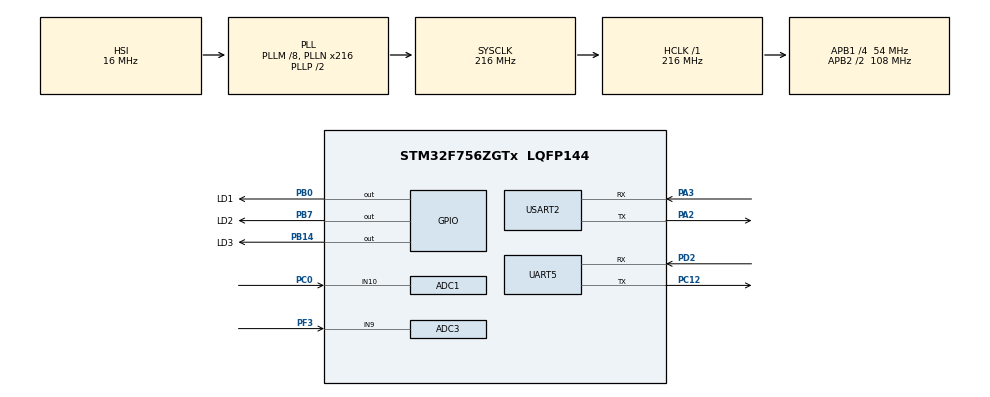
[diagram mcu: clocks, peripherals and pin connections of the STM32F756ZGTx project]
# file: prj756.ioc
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ADC1.Channel-0\#ChannelRegularConversion=ADC_CHANNEL_10
ADC1.ContinuousConvMode=ENABLE
ADC1.DMAContinuousRequests=ENABLE
ADC1.NbrOfConversionFlag=1
ADC1.Rank-0\#ChannelRegularConversion=1
ADC1.SamplingTime-0\#ChannelRegularConversion=ADC_SAMPLETIME_56CYCLES
ADC1.master=1
ADC3.Channel-0\#ChannelRegularConversion=ADC_CHANNEL_9
ADC3.ContinuousConvMode=ENABLE
ADC3.DMAContinuousRequests=ENABLE
ADC3.NbrOfConversionFlag=1
ADC3.Rank-0\#ChannelRegularConversion=1
ADC3.SamplingTime-0\#ChannelRegularConversion=ADC_SAMPLETIME_56CYCLES
Dma.ADC1.1.Direction=DMA_PERIPH_TO_MEMORY
Dma.ADC1.1.FIFOMode=DMA_FIFOMODE_DISABLE
Dma.ADC1.1.Instance=DMA2_Stream4
Dma.ADC1.1.MemDataAlignment=DMA_MDATAALIGN_HALFWORD
Dma.ADC1.1.MemInc=DMA_MINC_ENABLE
Dma.ADC1.1.Mode=DMA_CIRCULAR
Dma.ADC1.1.PeriphDataAlignment=DMA_PDATAALIGN_HALFWORD
Dma.ADC1.1.PeriphInc=DMA_PINC_DISABLE
Dma.ADC1.1.Priority=DMA_PRIORITY_LOW
Dma.ADC3.0.Direction=DMA_PERIPH_TO_MEMORY
Dma.ADC3.0.FIFOMode=DMA_FIFOMODE_DISABLE
Dma.ADC3.0.Instance=DMA2_Stream0
Dma.ADC3.0.MemDataAlignment=DMA_MDATAALIGN_HALFWORD
Dma.ADC3.0.MemInc=DMA_MINC_ENABLE
Dma.ADC3.0.Mode=DMA_CIRCULAR
Dma.ADC3.0.PeriphDataAlignment=DMA_PDATAALIGN_HALFWORD
Dma.ADC3.0.PeriphInc=DMA_PINC_DISABLE
Dma.ADC3.0.Priority=DMA_PRIORITY_LOW
Dma.Request0=ADC3
Dma.Request1=ADC1
Mcu.Family=STM32F7
Mcu.Name=STM32F756ZGTx
Mcu.Package=LQFP144
NVIC.DMA2_Stream0_IRQn=true\:0\:0\:false\:false\:true\:false\:true\:true
NVIC.DMA2_Stream4_IRQn=true\:0\:0\:false\:false\:true\:false\:true\:true
NVIC.PriorityGroup=NVIC_PRIORITYGROUP_4
NVIC.TIM5_IRQn=true\:0\:0\:false\:false\:true\:true\:true\:true
NVIC.UART5_IRQn=true\:0\:0\:false\:false\:true\:true\:true\:true
NVIC.USART2_IRQn=true\:0\:0\:false\:false\:true\:true\:true\:true
PA13.Mode=Serial_Wire
PA13.Signal=SYS_JTMS-SWDIO
PA14.Mode=Serial_Wire
PA14.Signal=SYS_JTCK-SWCLK
PA2.Mode=Asynchronous
PA2.Signal=USART2_TX
PA3.Mode=Asynchronous
PA3.Signal=USART2_RX
PB0.GPIO_Label=LD1
PB0.GPIO_Speed=GPIO_SPEED_FREQ_HIGH
PB0.Signal=GPIO_Output
PB14.GPIO_Label=LD3
PB14.GPIO_Speed=GPIO_SPEED_FREQ_HIGH
PB14.Signal=GPIO_Output
PB7.GPIO_Label=LD2
PB7.GPIO_Speed=GPIO_SPEED_FREQ_HIGH
PB7.Signal=GPIO_Output
PC0.Signal=ADCx_IN10
PC12.Mode=Asynchronous
PC12.Signal=UART5_TX
PC14/OSC32_IN.Mode=LSE-External-Oscillator
PC14/OSC32_IN.Signal=RCC_OSC32_IN
PC15/OSC32_OUT.Mode=LSE-External-Oscillator
PC15/OSC32_OUT.Signal=RCC_OSC32_OUT
PD2.Mode=Asynchronous
PD2.Signal=UART5_RX
PF3.Mode=IN9
PF3.Signal=ADC3_IN9
PH0/OSC_IN.Mode=HSE-External-Oscillator
PH0/OSC_IN.Signal=RCC_OSC_IN
PH1/OSC_OUT.Mode=HSE-External-Oscillator
PH1/OSC_OUT.Signal=RCC_OSC_OUT
ProjectManager.HeapSize=0x200
ProjectManager.StackSize=0x400
ProjectManager.TargetToolchain=STM32CubeIDE
RCC.AHBFreq_Value=216000000
RCC.APB1CLKDivider=RCC_HCLK_DIV4
RCC.APB1Freq_Value=54000000
RCC.APB1TimFreq_Value=108000000
RCC.APB2CLKDivider=RCC_HCLK_DIV2
RCC.APB2Freq_Value=108000000
RCC.APB2TimFreq_Value=216000000
RCC.CortexFreq_Value=216000000
RCC.HCLKFreq_Value=216000000
RCC.HSE_VALUE=25000000
RCC.HSI_VALUE=16000000
RCC.PLLM=8
RCC.PLLN=216
RCC.SYSCLKFreq_VALUE=216000000
RCC.SYSCLKSource=RCC_SYSCLKSOURCE_PLLCLK
RCC.USBFreq_Value=216000000
RCC.VCOOutputFreq_Value=432000000
SH.ADCx_IN10.0=ADC1_IN10,IN10
TIM5.AutoReloadPreload=TIM_AUTORELOAD_PRELOAD_DISABLE
TIM5.Channel-Output\ Compare1\ No\ Output=TIM_CHANNEL_1
TIM5.Period=199999
TIM5.Prescaler=539
USART2.VirtualMode-Asynchronous=VM_ASYNC
VP_TIM5_VS_no_output1.Mode=Output Compare1 No Output
board=custom

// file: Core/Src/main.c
/* USER CODE BEGIN Header */
/**
  ******************************************************************************
  * @file           : main.c
  * @brief          : Main program body
  ******************************************************************************
  * @attention
  *
  * Copyright (c) 2023 STMicroelectronics.
  * All rights reserved.
  *
  * This software is licensed under terms that can be found in the LICENSE file
  * in the root directory of this software component.
  * If no LICENSE file comes with this software, it is provided AS-IS.
  *
  ******************************************************************************
  */
/* USER CODE END Header */
#include "main.h"

/* USER CODE BEGIN Includes */
#include "dataStatus.h"
/* USER CODE END Includes */

ADC_HandleTypeDef hadc1;
ADC_HandleTypeDef hadc3;
DMA_HandleTypeDef hdma_adc1;
DMA_HandleTypeDef hdma_adc3;

TIM_HandleTypeDef htim5;

UART_HandleTypeDef huart5;
UART_HandleTypeDef huart2;

/* USER CODE BEGIN PV */
uint32_t adcVal = 0;

/* USER CODE END PV */

void SystemClock_Config(void);
static void MX_GPIO_Init(void);
static void MX_DMA_Init(void);
static void MX_USART2_UART_Init(void);
static void MX_UART5_Init(void);
static void MX_TIM5_Init(void);
static void MX_ADC3_Init(void);
static void MX_ADC1_Init(void);

/* USER CODE BEGIN 0 */

int TickFor1S = 0;

void HAL_TIM_PeriodElapsedCallback(TIM_HandleTypeDef *htim)
{

	setEventData(EVENT_100ms);
	if(TickFor1S == 10)
	{
		setEventData(EVENT_1s);
		TickFor1S = 0;
	}
	TickFor1S++;
}

uint8_t txData[2] = {0, };
uint8_t rxData[2] = {0, };

void HAL_UART_RxCpltCallback(UART_HandleTypeDef *huart)
{
	if(huart->Instance == USART2)
	{
		HAL_UART_Receive_IT(&huart2, &rxData[0], 1);
		setUartData(eUart2, rxData[0]);
		setEventData(EVENT_UART2_RX);
	}
	else if(huart->Instance == UART5)
	{
		HAL_UART_Receive_IT(&huart5, &rxData[1], 1);
		setEventData(EVENT_UART5_RX);
	}
}
/* USER CODE END 0 */

int main(void)
{

  /* MCU Configuration--------------------------------------------------------*/

  /* Reset of all peripherals, Initializes the Flash interface and the Systick. */
  HAL_Init();

  /* Configure the system clock */
  SystemClock_Config();

  /* Initialize all configured peripherals */
  MX_GPIO_Init();
  MX_DMA_Init();
  MX_USART2_UART_Init();
  MX_ADC3_Init();
  MX_UART5_Init();
  MX_TIM5_Init();
  MX_ADC1_Init();
  /* USER CODE BEGIN 2 */
  initDataStatus();
  HAL_TIM_Base_Start_IT(&htim5);

  HAL_UART_Receive_IT(&huart5, &rxData, 1);

  HAL_ADC_Start_DMA(&hadc1, &adcVal, 1);
  /* USER CODE END 2 */

  /* Infinite loop */
  /* USER CODE BEGIN WHILE */
  int sendVal = 0;
  while (1)
  {
    /* USER CODE END WHILE */

    /* USER CODE BEGIN 3 */
	  //Blue Swith -> LED
//	  HAL_GPIO_WritePin(GPIOB, LD3_Pin, HAL_GPIO_ReadPin(GPIOC, B1_Pin));

//	  if(getEventData() == EVENT_100ms)
//	  {
//		  HAL_GPIO_TogglePin(GPIOB, LD1_Pin);
//	  }

	  switch(getEventData())
	  {
	  case EVENT_100ms:
		  HAL_GPIO_TogglePin(GPIOB, LD1_Pin);
		  txData[0]++;
		  HAL_UART_Transmit(&huart2, &txData[0], 1, 10);
		  break;
	  case EVENT_1s:
		  txData[1]++;
		  txData[1] %= 5;
		  sendVal = txData[1] + 6;
		  HAL_UART_Transmit(&huart5, &txData[1], 1, 10);
		  break;
	  case EVENT_UART2_RX:
	  if(getUartData(eUart2) == 0x10)
		  HAL_GPIO_TogglePin(GPIOB, LD2_Pin);
	  break;
	  case EVENT_UART5_RX:
	  break;
	  default:
		  break;
	  }

  }
  /* USER CODE END 3 */
}

void SystemClock_Config(void)
{
  RCC_OscInitTypeDef RCC_OscInitStruct = {0};
  RCC_ClkInitTypeDef RCC_ClkInitStruct = {0};

  /** Configure LSE Drive Capability
  */
  HAL_PWR_EnableBkUpAccess();

  /** Configure the main internal regulator output voltage
  */
  __HAL_RCC_PWR_CLK_ENABLE();
  __HAL_PWR_VOLTAGESCALING_CONFIG(PWR_REGULATOR_VOLTAGE_SCALE1);

  /** Initializes the RCC Oscillators according to the specified parameters
  * in the RCC_OscInitTypeDef structure.
  */
  RCC_OscInitStruct.OscillatorType = RCC_OSCILLATORTYPE_HSI;
  RCC_OscInitStruct.HSIState = RCC_HSI_ON;
  RCC_OscInitStruct.HSICalibrationValue = RCC_HSICALIBRATION_DEFAULT;
  RCC_OscInitStruct.PLL.PLLState = RCC_PLL_ON;
  RCC_OscInitStruct.PLL.PLLSource = RCC_PLLSOURCE_HSI;
  RCC_OscInitStruct.PLL.PLLM = 8;
  RCC_OscInitStruct.PLL.PLLN = 216;
  RCC_OscInitStruct.PLL.PLLP = RCC_PLLP_DIV2;
  RCC_OscInitStruct.PLL.PLLQ = 2;
  if (HAL_RCC_OscConfig(&RCC_OscInitStruct) != HAL_OK)
  {
    Error_Handler();
  }

  /** Activate the Over-Drive mode
  */
  if (HAL_PWREx_EnableOverDrive() != HAL_OK)
  {
    Error_Handler();
  }

  /** Initializes the CPU, AHB and APB buses clocks
  */
  RCC_ClkInitStruct.ClockType = RCC_CLOCKTYPE_HCLK|RCC_CLOCKTYPE_SYSCLK
                              |RCC_CLOCKTYPE_PCLK1|RCC_CLOCKTYPE_PCLK2;
  RCC_ClkInitStruct.SYSCLKSource = RCC_SYSCLKSOURCE_PLLCLK;
  RCC_ClkInitStruct.AHBCLKDivider = RCC_SYSCLK_DIV1;
  RCC_ClkInitStruct.APB1CLKDivider = RCC_HCLK_DIV4;
  RCC_ClkInitStruct.APB2CLKDivider = RCC_HCLK_DIV2;

  if (HAL_RCC_ClockConfig(&RCC_ClkInitStruct, FLASH_LATENCY_7) != HAL_OK)
  {
    Error_Handler();
  }
}

static void MX_ADC1_Init(void)
{

  ADC_ChannelConfTypeDef sConfig = {0};

  /** Configure the global features of the ADC (Clock, Resolution, Data Alignment and number of conversion)
  */
  hadc1.Instance = ADC1;
  hadc1.Init.ClockPrescaler = ADC_CLOCK_SYNC_PCLK_DIV4;
  hadc1.Init.Resolution = ADC_RESOLUTION_12B;
  hadc1.Init.ScanConvMode = ADC_SCAN_DISABLE;
  hadc1.Init.ContinuousConvMode = ENABLE;
  hadc1.Init.DiscontinuousConvMode = DISABLE;
  hadc1.Init.ExternalTrigConvEdge = ADC_EXTERNALTRIGCONVEDGE_NONE;
  hadc1.Init.ExternalTrigConv = ADC_SOFTWARE_START;
  hadc1.Init.DataAlign = ADC_DATAALIGN_RIGHT;
  hadc1.Init.NbrOfConversion = 1;
  hadc1.Init.DMAContinuousRequests = ENABLE;
  hadc1.Init.EOCSelection = ADC_EOC_SINGLE_CONV;
  if (HAL_ADC_Init(&hadc1) != HAL_OK)
  {
    Error_Handler();
  }

  /** Configure for the selected ADC regular channel its corresponding rank in the sequencer and its sample time.
  */
  sConfig.Channel = ADC_CHANNEL_10;
  sConfig.Rank = ADC_REGULAR_RANK_1;
  sConfig.SamplingTime = ADC_SAMPLETIME_56CYCLES;
  if (HAL_ADC_ConfigChannel(&hadc1, &sConfig) != HAL_OK)
  {
    Error_Handler();
  }

}

static void MX_ADC3_Init(void)
{

  ADC_ChannelConfTypeDef sConfig = {0};

  /** Configure the global features of the ADC (Clock, Resolution, Data Alignment and number of conversion)
  */
  hadc3.Instance = ADC3;
  hadc3.Init.ClockPrescaler = ADC_CLOCK_SYNC_PCLK_DIV4;
  hadc3.Init.Resolution = ADC_RESOLUTION_12B;
  hadc3.Init.ScanConvMode = ADC_SCAN_DISABLE;
  hadc3.Init.ContinuousConvMode = ENABLE;
  hadc3.Init.DiscontinuousConvMode = DISABLE;
  hadc3.Init.ExternalTrigConvEdge = ADC_EXTERNALTRIGCONVEDGE_NONE;
  hadc3.Init.ExternalTrigConv = ADC_SOFTWARE_START;
  hadc3.Init.DataAlign = ADC_DATAALIGN_RIGHT;
  hadc3.Init.NbrOfConversion = 1;
  hadc3.Init.DMAContinuousRequests = ENABLE;
  hadc3.Init.EOCSelection = ADC_EOC_SINGLE_CONV;
  if (HAL_ADC_Init(&hadc3) != HAL_OK)
  {
    Error_Handler();
  }

  /** Configure for the selected ADC regular channel its corresponding rank in the sequencer and its sample time.
  */
  sConfig.Channel = ADC_CHANNEL_9;
  sConfig.Rank = ADC_REGULAR_RANK_1;
  sConfig.SamplingTime = ADC_SAMPLETIME_56CYCLES;
  if (HAL_ADC_ConfigChannel(&hadc3, &sConfig) != HAL_OK)
  {
    Error_Handler();
  }

}

static void MX_TIM5_Init(void)
{

  TIM_MasterConfigTypeDef sMasterConfig = {0};
  TIM_OC_InitTypeDef sConfigOC = {0};

  htim5.Instance = TIM5;
  htim5.Init.Prescaler = 539;
  htim5.Init.CounterMode = TIM_COUNTERMODE_UP;
  htim5.Init.Period = 199999;
  htim5.Init.ClockDivision = TIM_CLOCKDIVISION_DIV1;
  htim5.Init.AutoReloadPreload = TIM_AUTORELOAD_PRELOAD_DISABLE;
  if (HAL_TIM_OC_Init(&htim5) != HAL_OK)
  {
    Error_Handler();
  }
  sMasterConfig.MasterOutputTrigger = TIM_TRGO_RESET;
  sMasterConfig.MasterSlaveMode = TIM_MASTERSLAVEMODE_DISABLE;
  if (HAL_TIMEx_MasterConfigSynchronization(&htim5, &sMasterConfig) != HAL_OK)
  {
    Error_Handler();
  }
  sConfigOC.OCMode = TIM_OCMODE_TIMING;
  sConfigOC.Pulse = 0;
  sConfigOC.OCPolarity = TIM_OCPOLARITY_HIGH;
  sConfigOC.OCFastMode = TIM_OCFAST_DISABLE;
  if (HAL_TIM_OC_ConfigChannel(&htim5, &sConfigOC, TIM_CHANNEL_1) != HAL_OK)
  {
    Error_Handler();
  }

}

static void MX_UART5_Init(void)
{

  huart5.Instance = UART5;
  huart5.Init.BaudRate = 115200;
  huart5.Init.WordLength = UART_WORDLENGTH_8B;
  huart5.Init.StopBits = UART_STOPBITS_1;
  huart5.Init.Parity = UART_PARITY_NONE;
  huart5.Init.Mode = UART_MODE_TX_RX;
  huart5.Init.HwFlowCtl = UART_HWCONTROL_NONE;
  huart5.Init.OverSampling = UART_OVERSAMPLING_16;
  huart5.Init.OneBitSampling = UART_ONE_BIT_SAMPLE_DISABLE;
  huart5.AdvancedInit.AdvFeatureInit = UART_ADVFEATURE_NO_INIT;
  if (HAL_UART_Init(&huart5) != HAL_OK)
  {
    Error_Handler();
  }

}

static void MX_USART2_UART_Init(void)
{

  huart2.Instance = USART2;
  huart2.Init.BaudRate = 115200;
  huart2.Init.WordLength = UART_WORDLENGTH_8B;
  huart2.Init.StopBits = UART_STOPBITS_1;
  huart2.Init.Parity = UART_PARITY_NONE;
  huart2.Init.Mode = UART_MODE_TX_RX;
  huart2.Init.HwFlowCtl = UART_HWCONTROL_NONE;
  huart2.Init.OverSampling = UART_OVERSAMPLING_16;
  huart2.Init.OneBitSampling = UART_ONE_BIT_SAMPLE_DISABLE;
  huart2.AdvancedInit.AdvFeatureInit = UART_ADVFEATURE_NO_INIT;
  if (HAL_UART_Init(&huart2) != HAL_OK)
  {
    Error_Handler();
  }

}

static void MX_DMA_Init(void)
{

  /* DMA controller clock enable */
  __HAL_RCC_DMA2_CLK_ENABLE();

  /* DMA interrupt init */
  /* DMA2_Stream0_IRQn interrupt configuration */
  HAL_NVIC_SetPriority(DMA2_Stream0_IRQn, 0, 0);
  HAL_NVIC_EnableIRQ(DMA2_Stream0_IRQn);
  /* DMA2_Stream4_IRQn interrupt configuration */
  HAL_NVIC_SetPriority(DMA2_Stream4_IRQn, 0, 0);
  HAL_NVIC_EnableIRQ(DMA2_Stream4_IRQn);

}

static void MX_GPIO_Init(void)
{
  GPIO_InitTypeDef GPIO_InitStruct = {0};

  /* GPIO Ports Clock Enable */
  __HAL_RCC_GPIOC_CLK_ENABLE();
  __HAL_RCC_GPIOF_CLK_ENABLE();
  __HAL_RCC_GPIOH_CLK_ENABLE();
  __HAL_RCC_GPIOA_CLK_ENABLE();
  __HAL_RCC_GPIOB_CLK_ENABLE();
  __HAL_RCC_GPIOD_CLK_ENABLE();

  /*Configure GPIO pin Output Level */
  HAL_GPIO_WritePin(GPIOB, LD1_Pin|LD3_Pin|LD2_Pin, GPIO_PIN_RESET);

  /*Configure GPIO pins : LD1_Pin LD3_Pin LD2_Pin */
  GPIO_InitStruct.Pin = LD1_Pin|LD3_Pin|LD2_Pin;
  GPIO_InitStruct.Mode = GPIO_MODE_OUTPUT_PP;
  GPIO_InitStruct.Pull = GPIO_NOPULL;
  GPIO_InitStruct.Speed = GPIO_SPEED_FREQ_HIGH;
  HAL_GPIO_Init(GPIOB, &GPIO_InitStruct);

}

void Error_Handler(void)
{
  __disable_irq();
  while (1)
  {
  }
}
